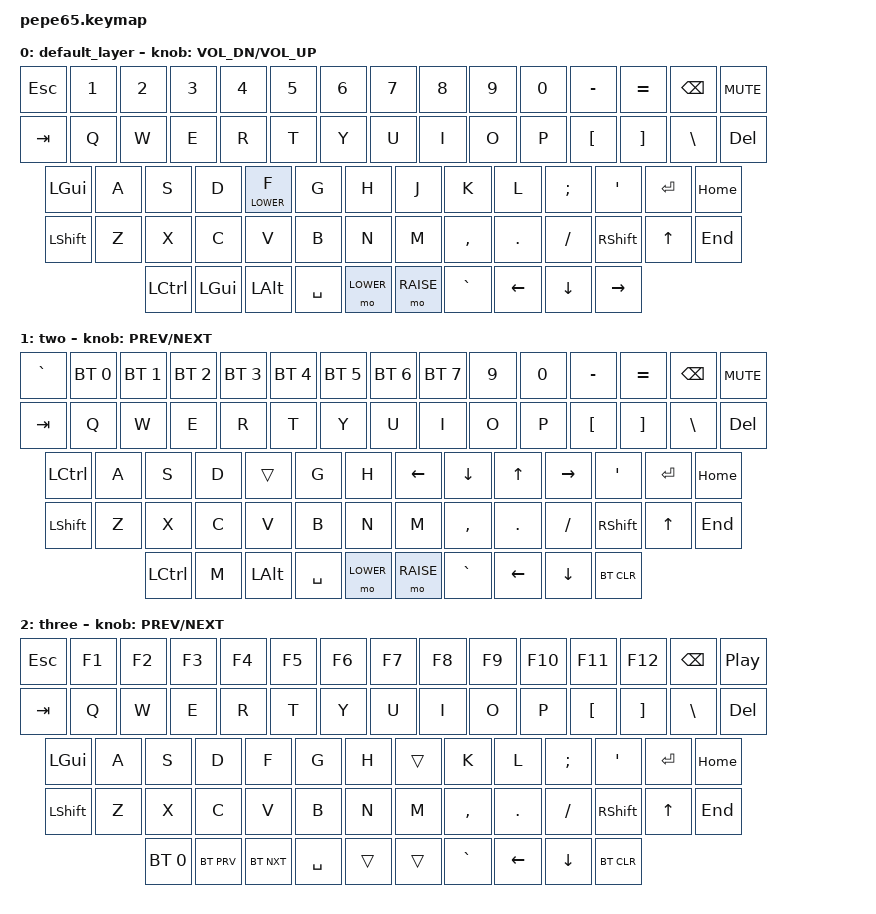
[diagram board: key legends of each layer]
#include <behaviors.dtsi>
#include <dt-bindings/zmk/keys.h>
#include <dt-bindings/zmk/bt.h>
#include <dt-bindings/zmk/outputs.h>
#include <dt-bindings/zmk/rgb.h>
#include <dt-bindings/zmk/ext_power.h>

#define DEFAULT 0
#define LOWER   1
#define RAISE   2

/{
	
    keymap {
        compatible = "zmk,keymap";

        default_layer {
 //   |  ESC  |  1  |  2  |  3  |  4  |  5  |  6  |  7  |  8  |  9  |  0  |  -  |  +  |  backspace  |
 //   |  tab  |  q  |  w  |  e  |  r  |  t  |  y  |  u  |  i  |  o  |  p  |  [  |  ]  |  \  |
 //   |  caps  |  a  |  s  |  d  |  f  |  g  |  h  |  j  |  k  |  l  |  ;  |  '  |  enter  |  encoder_button  |
 //   |  shift  |  z  |  x  |  c  |  v  |  b  |  n  |  m  |  ,  |  .  |  /  |  shift  |  up  |  extra  |
 //   |  ctrl  |  win  |  alt    |  space    |  alt  |  win  |  menu  |  left  |  down  |  right  |


            bindings = <
&kp ESC  &kp N1  &kp N2  &kp N3  &kp N4  &kp N5  &kp N6  &kp N7  &kp N8  &kp N9  &kp N0  &kp MINUS  &kp EQUAL  &kp BSPC &kp C_MUTE
&kp TAB  &kp Q  &kp W  &kp E  &kp R  &kp T  &kp Y  &kp U  &kp I  &kp O  &kp P  &kp LBKT  &kp RBKT &kp BSLH &kp DEL
&kp LGUI  &kp A  &kp S  &kp D  &lt LOWER F  &kp G  &kp H  &kp J  &kp K  &kp L  &kp SEMI  &kp SQT  &kp ENTER  &kp HOME
&kp LSHFT  &kp Z  &kp X  &kp C  &kp V  &kp B  &kp N  &kp M  &kp COMMA  &kp DOT  &kp FSLH  &kp RSHFT  &kp UP  &kp END
&kp LCTRL  &kp LGUI  &kp LALT      &kp SPACE      &mo LOWER  &mo RAISE  &kp GRAVE  &kp LEFT  &kp DOWN  &kp RIGHT
            >;

            sensor-bindings = <&inc_dec_kp C_VOL_DN C_VOL_UP>;
        };

        two {
 //   |  ESC  |  1  |  2  |  3  |  4  |  5  |  6  |  7  |  8  |  9  |  0  |  -  |  +  |  backspace  |
 //   |  tab  |  q  |  w  |  e  |  r  |  t  |  y  |  u  |  i  |  o  |  p  |  [  |  ]  |  \  |
 //   |  caps  |  a  |  s  |  d  |  f  |  g  |  h  |  j  |  k  |  l  |  ;  |  '  |  enter  |  encoder_button  |
 //   |  shift  |  z  |  x  |  c  |  v  |  b  |  n  |  m  |  ,  |  .  |  /  |  shift  |  up  |  extra  |
 //   |  ctrl  |  win  |  alt    |  space    |  alt  |  win  |  menu  |  left  |  down  |  right  |


            bindings = <
&kp GRAVE  &bt BT_SEL 0 &bt BT_SEL 1  &bt BT_SEL 2  &bt BT_SEL 3  &bt BT_SEL 4  &bt BT_SEL 5  &bt BT_SEL 6  &bt BT_SEL 7  &kp N9  &kp N0  &kp MINUS  &kp EQUAL  &kp BSPC &kp C_MUTE
&kp TAB  &kp Q  &kp W  &kp E  &kp R  &kp T  &kp Y  &kp U  &kp I  &kp O  &kp P  &kp LBKT  &kp RBKT &kp BSLH &kp DEL
&kp LCTL  &kp A  &kp S  &kp D  &trans  &kp G  &kp H  &kp LEFT  &kp DOWN  &kp UP  &kp RIGHT  &kp SQT  &kp ENTER  &kp HOME
&kp LSHFT  &kp Z  &kp X  &kp C  &kp V  &kp B  &kp N  &kp M  &kp COMMA  &kp DOT  &kp FSLH  &kp RSHFT  &kp UP  &kp END
&kp LCTRL  &kp M  &kp LALT      &kp SPACE      &mo LOWER  &mo RAISE  &kp GRAVE  &kp LEFT  &kp DOWN  &bt BT_CLR
            >;

            sensor-bindings = <&inc_dec_kp C_PREV C_NEXT>;
        };

        three {
 //   |  ESC  |  1  |  2  |  3  |  4  |  5  |  6  |  7  |  8  |  9  |  0  |  -  |  +  |  backspace  |
 //   |  tab  |  q  |  w  |  e  |  r  |  t  |  y  |  u  |  i  |  o  |  p  |  [  |  ]  |  \  |
 //   |  caps  |  a  |  s  |  d  |  f  |  g  |  h  |  j  |  k  |  l  |  ;  |  '  |  enter  |  encoder_button  |
 //   |  shift  |  z  |  x  |  c  |  v  |  b  |  n  |  m  |  ,  |  .  |  /  |  shift  |  up  |  extra  |
 //   |  ctrl  |  win  |  alt    |  space    |  alt  |  win  |  menu  |  left  |  down  |  right  |


            bindings = <
&kp ESC  &kp F1  &kp F2  &kp F3  &kp F4  &kp F5  &kp F6  &kp F7  &kp F8  &kp F9  &kp F10  &kp F11  &kp F12  &kp BSPC &kp C_PP
&kp TAB  &kp Q  &kp W  &kp E  &kp R  &kp T  &kp Y  &kp U  &kp I  &kp O  &kp P  &kp LBKT  &kp RBKT &kp BSLH &kp DEL
&kp LGUI  &kp A  &kp S  &kp D  &kp F  &kp G  &kp H  &trans  &kp K  &kp L  &kp SEMI  &kp SQT  &kp ENTER  &kp HOME
&kp LSHFT  &kp Z  &kp X  &kp C  &kp V  &kp B  &kp N  &kp M  &kp COMMA  &kp DOT  &kp FSLH  &kp RSHFT  &kp UP  &kp END
&bt BT_SEL 0  &bt BT_PRV  &bt BT_NXT      &kp SPACE      &trans   &trans  &kp GRAVE  &kp LEFT  &kp DOWN  &bt BT_CLR
            >;

            sensor-bindings = <&inc_dec_kp C_PREV C_NEXT>;
        };
    };
};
